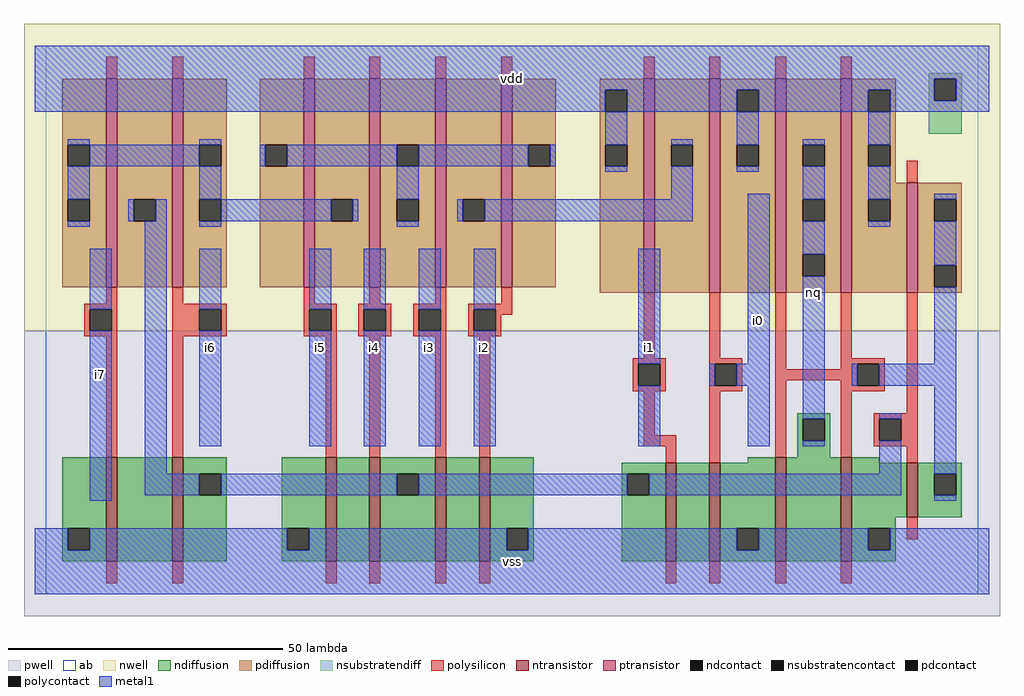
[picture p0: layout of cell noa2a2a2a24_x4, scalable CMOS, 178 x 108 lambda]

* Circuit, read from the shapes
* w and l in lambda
.subckt noa2a2a2a24_x4 i0 i1 i2 i3 i4 i5 i6 i7 nq vdd vss
M1 n1 i7 vss VSUBS nfet w=19 l=2
M2 n2 i6 n1 VSUBS nfet w=19 l=2
M3 n3 i5 vss VSUBS nfet w=19 l=2
M4 n2 i4 n3 VSUBS nfet w=19 l=2
M5 n4 i3 n2 VSUBS nfet w=19 l=2
M6 vss i2 n4 VSUBS nfet w=19 l=2
M7 n5 i1 n2 VSUBS nfet w=18 l=2
M8 vss i0 n5 VSUBS nfet w=18 l=2
M9 nq n6 vss VSUBS nfet w=19 l=2 m=2
M10 n6 n2 vss VSUBS nfet w=10 l=2
M11 n2 i7 n7 vdd pfet w=38 l=2
M12 n7 i6 n2 vdd pfet w=38 l=2
M13 n7 i5 n8 vdd pfet w=38 l=2
M14 n8 i4 n7 vdd pfet w=38 l=2
M15 n9 i3 n8 vdd pfet w=38 l=2
M16 n8 i2 n9 vdd pfet w=38 l=2
M17 n9 i1 vdd vdd pfet w=39 l=2
M18 vdd i0 n9 vdd pfet w=39 l=2
M19 nq n6 vdd vdd pfet w=39 l=2 m=2
M20 n6 n2 vdd vdd pfet w=20 l=2
.ends

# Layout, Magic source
magic
tech scmos
<< ab >>
rect 0 0 170 100
<< pwell >>
rect -4 -4 174 48
<< nwell >>
rect -4 48 174 104
<< polysilicon >>
rect 11 94 13 98
rect 23 94 25 98
rect 47 94 49 98
rect 59 94 61 98
rect 71 94 73 98
rect 83 94 85 98
rect 109 94 111 98
rect 121 94 123 98
rect 133 94 135 98
rect 145 94 147 98
rect 11 53 13 56
rect 7 52 13 53
rect 7 48 8 52
rect 12 48 13 52
rect 7 47 13 48
rect 11 25 13 47
rect 23 53 25 56
rect 47 53 49 56
rect 59 53 61 56
rect 71 53 73 56
rect 83 53 85 56
rect 157 75 159 79
rect 23 52 33 53
rect 23 48 28 52
rect 32 48 33 52
rect 23 47 33 48
rect 47 52 53 53
rect 47 48 48 52
rect 52 48 53 52
rect 47 47 53 48
rect 57 52 63 53
rect 57 48 58 52
rect 62 48 63 52
rect 57 47 63 48
rect 67 52 73 53
rect 67 48 68 52
rect 72 48 73 52
rect 67 47 73 48
rect 77 52 85 53
rect 77 48 78 52
rect 82 51 85 52
rect 82 48 83 51
rect 77 47 83 48
rect 23 25 25 47
rect 51 25 53 47
rect 59 25 61 47
rect 71 25 73 47
rect 79 25 81 47
rect 109 43 111 55
rect 121 43 123 55
rect 107 42 113 43
rect 107 38 108 42
rect 112 38 113 42
rect 107 37 113 38
rect 121 42 127 43
rect 121 38 122 42
rect 126 38 127 42
rect 121 37 127 38
rect 133 41 135 55
rect 145 43 147 55
rect 145 42 153 43
rect 145 41 148 42
rect 133 39 148 41
rect 109 29 111 37
rect 109 27 115 29
rect 113 24 115 27
rect 121 24 123 37
rect 133 25 135 39
rect 145 38 148 39
rect 152 38 153 42
rect 145 37 153 38
rect 145 25 147 37
rect 157 33 159 55
rect 151 32 159 33
rect 151 28 152 32
rect 156 28 159 32
rect 151 27 159 28
rect 157 24 159 27
rect 157 10 159 14
rect 11 2 13 6
rect 23 2 25 6
rect 51 2 53 6
rect 59 2 61 6
rect 71 2 73 6
rect 79 2 81 6
rect 113 2 115 6
rect 121 2 123 6
rect 133 2 135 6
rect 145 2 147 6
<< ndiffusion >>
rect 3 12 11 25
rect 3 8 4 12
rect 8 8 11 12
rect 3 6 11 8
rect 13 6 23 25
rect 25 22 33 25
rect 25 18 28 22
rect 32 18 33 22
rect 25 6 33 18
rect 43 12 51 25
rect 43 8 44 12
rect 48 8 51 12
rect 43 6 51 8
rect 53 6 59 25
rect 61 22 71 25
rect 61 18 64 22
rect 68 18 71 22
rect 61 6 71 18
rect 73 6 79 25
rect 81 12 89 25
rect 137 32 143 33
rect 137 28 138 32
rect 142 28 143 32
rect 137 25 143 28
rect 128 24 133 25
rect 81 8 84 12
rect 88 8 89 12
rect 81 6 89 8
rect 105 22 113 24
rect 105 18 106 22
rect 110 18 113 22
rect 105 6 113 18
rect 115 6 121 24
rect 123 12 133 24
rect 123 8 126 12
rect 130 8 133 12
rect 123 6 133 8
rect 135 6 145 25
rect 147 24 152 25
rect 147 14 157 24
rect 159 22 167 24
rect 159 18 162 22
rect 166 18 167 22
rect 159 14 167 18
rect 147 12 155 14
rect 147 8 150 12
rect 154 8 155 12
rect 147 6 155 8
<< pdiffusion >>
rect 3 82 11 94
rect 3 78 4 82
rect 8 78 11 82
rect 3 72 11 78
rect 3 68 4 72
rect 8 68 11 72
rect 3 56 11 68
rect 13 72 23 94
rect 13 68 16 72
rect 20 68 23 72
rect 13 56 23 68
rect 25 82 33 94
rect 25 78 28 82
rect 32 78 33 82
rect 25 72 33 78
rect 25 68 28 72
rect 32 68 33 72
rect 25 56 33 68
rect 39 82 47 94
rect 39 78 40 82
rect 44 78 47 82
rect 39 56 47 78
rect 49 72 59 94
rect 49 68 52 72
rect 56 68 59 72
rect 49 56 59 68
rect 61 82 71 94
rect 61 78 64 82
rect 68 78 71 82
rect 61 72 71 78
rect 61 68 64 72
rect 68 68 71 72
rect 61 56 71 68
rect 73 72 83 94
rect 73 68 76 72
rect 80 68 83 72
rect 73 56 83 68
rect 85 82 93 94
rect 85 78 88 82
rect 92 78 93 82
rect 85 56 93 78
rect 101 92 109 94
rect 101 88 102 92
rect 106 88 109 92
rect 101 82 109 88
rect 101 78 102 82
rect 106 78 109 82
rect 101 55 109 78
rect 111 82 121 94
rect 111 78 114 82
rect 118 78 121 82
rect 111 55 121 78
rect 123 92 133 94
rect 123 88 126 92
rect 130 88 133 92
rect 123 82 133 88
rect 123 78 126 82
rect 130 78 133 82
rect 123 55 133 78
rect 135 82 145 94
rect 135 78 138 82
rect 142 78 145 82
rect 135 72 145 78
rect 135 68 138 72
rect 142 68 145 72
rect 135 62 145 68
rect 135 58 138 62
rect 142 58 145 62
rect 135 55 145 58
rect 147 92 155 94
rect 147 88 150 92
rect 154 88 155 92
rect 147 82 155 88
rect 147 78 150 82
rect 154 78 155 82
rect 147 75 155 78
rect 147 72 157 75
rect 147 68 150 72
rect 154 68 157 72
rect 147 55 157 68
rect 159 72 167 75
rect 159 68 162 72
rect 166 68 167 72
rect 159 60 167 68
rect 159 56 162 60
rect 166 56 167 60
rect 159 55 167 56
<< metal1 >>
rect -2 94 172 100
rect -2 92 162 94
rect -2 88 102 92
rect 106 88 126 92
rect 130 88 150 92
rect 154 90 162 92
rect 166 90 172 94
rect 154 88 172 90
rect 4 82 8 83
rect 28 82 32 83
rect 102 82 106 88
rect 8 78 28 82
rect 39 78 40 82
rect 44 78 64 82
rect 68 78 88 82
rect 92 78 93 82
rect 4 72 8 78
rect 28 72 32 78
rect 64 72 68 78
rect 102 77 106 78
rect 114 82 118 83
rect 114 72 118 78
rect 126 82 130 88
rect 126 77 130 78
rect 138 82 142 83
rect 15 68 16 72
rect 20 68 22 72
rect 4 67 8 68
rect 8 52 12 63
rect 8 17 12 48
rect 18 22 22 68
rect 32 68 52 72
rect 56 68 57 72
rect 75 68 76 72
rect 80 68 118 72
rect 28 67 32 68
rect 64 67 68 68
rect 28 52 32 63
rect 28 27 32 48
rect 48 52 52 63
rect 48 27 52 48
rect 58 52 62 63
rect 58 27 62 48
rect 68 52 72 63
rect 68 27 72 48
rect 78 52 82 63
rect 78 27 82 48
rect 108 42 112 63
rect 128 42 132 73
rect 121 38 122 42
rect 126 38 132 42
rect 108 27 112 38
rect 128 27 132 38
rect 138 72 142 78
rect 138 62 142 68
rect 150 82 154 88
rect 150 72 154 78
rect 150 67 154 68
rect 162 72 166 73
rect 138 32 142 58
rect 162 60 166 68
rect 162 42 166 56
rect 147 38 148 42
rect 152 38 166 42
rect 138 27 142 28
rect 152 32 156 33
rect 152 22 156 28
rect 18 18 28 22
rect 32 18 64 22
rect 68 18 106 22
rect 110 18 156 22
rect 162 22 166 38
rect 162 17 166 18
rect -2 8 4 12
rect 8 8 44 12
rect 48 8 84 12
rect 88 8 126 12
rect 130 8 150 12
rect 154 8 172 12
rect -2 0 172 8
<< ntransistor >>
rect 11 6 13 25
rect 23 6 25 25
rect 51 6 53 25
rect 59 6 61 25
rect 71 6 73 25
rect 79 6 81 25
rect 113 6 115 24
rect 121 6 123 24
rect 133 6 135 25
rect 145 6 147 25
rect 157 14 159 24
<< ptransistor >>
rect 11 56 13 94
rect 23 56 25 94
rect 47 56 49 94
rect 59 56 61 94
rect 71 56 73 94
rect 83 56 85 94
rect 109 55 111 94
rect 121 55 123 94
rect 133 55 135 94
rect 145 55 147 94
rect 157 55 159 75
<< polycontact >>
rect 8 48 12 52
rect 28 48 32 52
rect 48 48 52 52
rect 58 48 62 52
rect 68 48 72 52
rect 78 48 82 52
rect 108 38 112 42
rect 122 38 126 42
rect 148 38 152 42
rect 152 28 156 32
<< ndcontact >>
rect 4 8 8 12
rect 28 18 32 22
rect 44 8 48 12
rect 64 18 68 22
rect 138 28 142 32
rect 84 8 88 12
rect 106 18 110 22
rect 126 8 130 12
rect 162 18 166 22
rect 150 8 154 12
<< pdcontact >>
rect 4 78 8 82
rect 4 68 8 72
rect 16 68 20 72
rect 28 78 32 82
rect 28 68 32 72
rect 40 78 44 82
rect 52 68 56 72
rect 64 78 68 82
rect 64 68 68 72
rect 76 68 80 72
rect 88 78 92 82
rect 102 88 106 92
rect 102 78 106 82
rect 114 78 118 82
rect 126 88 130 92
rect 126 78 130 82
rect 138 78 142 82
rect 138 68 142 72
rect 138 58 142 62
rect 150 88 154 92
rect 150 78 154 82
rect 150 68 154 72
rect 162 68 166 72
rect 162 56 166 60
<< nsubstratencontact >>
rect 162 90 166 94
<< nsubstratendiff >>
rect 161 94 167 95
rect 161 90 162 94
rect 166 90 167 94
rect 161 84 167 90
<< labels >>
rlabel metal1 10 40 10 40 6 i7
rlabel metal1 30 45 30 45 6 i6
rlabel metal1 60 45 60 45 6 i4
rlabel metal1 50 45 50 45 6 i5
rlabel metal1 85 6 85 6 6 vss
rlabel metal1 70 45 70 45 6 i3
rlabel metal1 80 45 80 45 6 i2
rlabel metal1 85 94 85 94 6 vdd
rlabel metal1 110 45 110 45 6 i1
rlabel metal1 130 50 130 50 6 i0
rlabel metal1 140 55 140 55 6 nq
<< end >>
